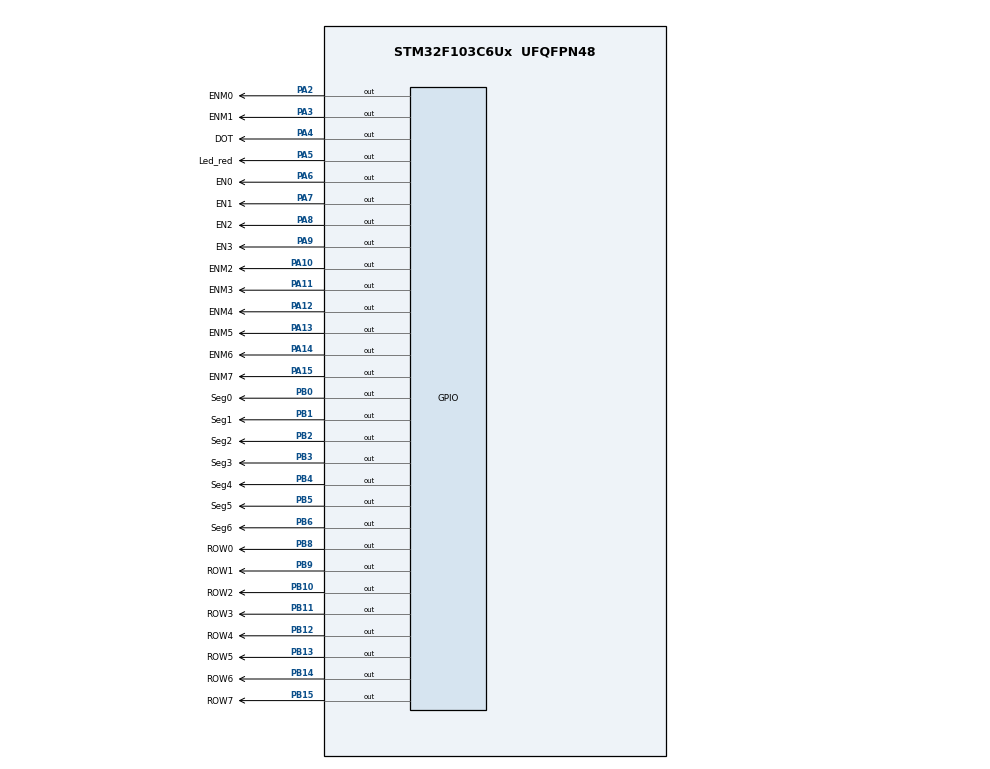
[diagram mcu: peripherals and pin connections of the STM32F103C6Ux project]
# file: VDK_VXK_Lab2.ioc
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Mcu.Family=STM32F1
Mcu.Name=STM32F103C6Ux
Mcu.Package=UFQFPN48
NVIC.PriorityGroup=NVIC_PRIORITYGROUP_4
NVIC.TIM2_IRQn=true\:0\:0\:false\:false\:true\:true\:true
PA10.GPIO_Label=ENM2
PA10.Signal=GPIO_Output
PA11.GPIO_Label=ENM3
PA11.Signal=GPIO_Output
PA12.GPIO_Label=ENM4
PA12.Signal=GPIO_Output
PA13.GPIO_Label=ENM5
PA13.Signal=GPIO_Output
PA14.GPIO_Label=ENM6
PA14.Signal=GPIO_Output
PA15.GPIO_Label=ENM7
PA15.Signal=GPIO_Output
PA2.GPIO_Label=ENM0
PA2.Signal=GPIO_Output
PA3.GPIO_Label=ENM1
PA3.Signal=GPIO_Output
PA4.GPIO_Label=DOT
PA4.Signal=GPIO_Output
PA5.GPIO_Label=Led_red
PA5.Signal=GPIO_Output
PA6.GPIO_Label=EN0
PA6.Signal=GPIO_Output
PA7.GPIO_Label=EN1
PA7.Signal=GPIO_Output
PA8.GPIO_Label=EN2
PA8.Signal=GPIO_Output
PA9.GPIO_Label=EN3
PA9.Signal=GPIO_Output
PB0.GPIO_Label=Seg0
PB0.Signal=GPIO_Output
PB1.GPIO_Label=Seg1
PB1.Signal=GPIO_Output
PB10.GPIO_Label=ROW2
PB10.Signal=GPIO_Output
PB11.GPIO_Label=ROW3
PB11.Signal=GPIO_Output
PB12.GPIO_Label=ROW4
PB12.Signal=GPIO_Output
PB13.GPIO_Label=ROW5
PB13.Signal=GPIO_Output
PB14.GPIO_Label=ROW6
PB14.Signal=GPIO_Output
PB15.GPIO_Label=ROW7
PB15.Signal=GPIO_Output
PB2.GPIO_Label=Seg2
PB2.Signal=GPIO_Output
PB3.GPIO_Label=Seg3
PB3.Signal=GPIO_Output
PB4.GPIO_Label=Seg4
PB4.Signal=GPIO_Output
PB5.GPIO_Label=Seg5
PB5.Signal=GPIO_Output
PB6.GPIO_Label=Seg6
PB6.Signal=GPIO_Output
PB8.GPIO_Label=ROW0
PB8.Signal=GPIO_Output
PB9.GPIO_Label=ROW1
PB9.Signal=GPIO_Output
ProjectManager.HeapSize=0x200
ProjectManager.StackSize=0x400
ProjectManager.TargetToolchain=STM32CubeIDE
RCC.APB1Freq_Value=8000000
RCC.APB2Freq_Value=8000000
TIM2.Period=9
TIM2.Prescaler=7999
VP_SYS_VS_ND.Mode=No_Debug
VP_TIM2_VS_ClockSourceINT.Mode=Internal
board=custom

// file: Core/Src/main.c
/* USER CODE BEGIN Header */
/**
  ******************************************************************************
  * @file           : main.c
  * @brief          : Main program body
  ******************************************************************************
  * @attention
  *
  * <h2><center>&copy; Copyright (c) 2024 STMicroelectronics.
  * All rights reserved.</center></h2>
  *
  * This software component is licensed by ST under BSD 3-Clause license,
  * the "License"; You may not use this file except in compliance with the
  * License. You may obtain a copy of the License at:
  *                        opensource.org/licenses/BSD-3-Clause
  *
  ******************************************************************************
  */
/* USER CODE END Header */
#include "main.h"

/* USER CODE BEGIN Includes */
#include "software_timer.h"
/* USER CODE END Includes */

TIM_HandleTypeDef htim2;

void SystemClock_Config(void);
static void MX_TIM2_Init(void);
static void MX_GPIO_Init(void);

/* USER CODE BEGIN 0 */
const uint8_t segDigits[10] = {
    0b01000000, // 0: Seg0, Seg1, Seg2, Seg3, Seg4, Seg5
    0b01111001, // 1: Seg1, Seg2
    0b00100100, // 2: Seg0, Seg1, Seg3, Seg4, Seg6
    0b00110000, // 3: Seg0, Seg1, Seg2, Seg3, Seg6
    0b00011001, // 4: Seg1, Seg2, Seg5, Seg6
    0b00010010, // 5: Seg0, Seg2, Seg3, Seg5, Seg6
    0b00000010, // 6: Seg0, Seg2, Seg3, Seg4, Seg5, Seg6
    0b01111000, // 7: Seg0, Seg1, Seg2
    0b00000000, // 8: Seg0, Seg1, Seg2, Seg3, Seg4, Seg5, Seg6
    0b00010000  // 9: Seg0, Seg1, Seg2, Seg3, Seg5, Seg6
};

// ham thuc hien led 7 doan
void displayDigit(uint8_t digit) {
    HAL_GPIO_WritePin(Seg0_GPIO_Port, Seg0_Pin, (segDigits[digit] & 0x01) ? 1 : 0);
    HAL_GPIO_WritePin(Seg1_GPIO_Port, Seg1_Pin, (segDigits[digit] & 0x02) ? 1 : 0);
    HAL_GPIO_WritePin(Seg2_GPIO_Port, Seg2_Pin, (segDigits[digit] & 0x04) ? 1 : 0);
    HAL_GPIO_WritePin(Seg3_GPIO_Port, Seg3_Pin, (segDigits[digit] & 0x08) ? 1 : 0);
    HAL_GPIO_WritePin(Seg4_GPIO_Port, Seg4_Pin, (segDigits[digit] & 0x10) ? 1 : 0);
    HAL_GPIO_WritePin(Seg5_GPIO_Port, Seg5_Pin, (segDigits[digit] & 0x20) ? 1 : 0);
    HAL_GPIO_WritePin(Seg6_GPIO_Port, Seg6_Pin, (segDigits[digit] & 0x40) ? 1 : 0);
}
const int MAX_LED = 4;
int index_led = 0;
int led_buffer[4] = {1, 2, 3, 4};
void update7SEG(int index) {
	HAL_GPIO_WritePin(GPIOA, EN0_Pin|EN1_Pin|EN2_Pin|EN3_Pin, 1);
	switch (index) {
		case 0:
			//Display the first 7SEG with led_buffer [0]
			HAL_GPIO_WritePin(GPIOA, EN0_Pin, 0);
			displayDigit(led_buffer[0]);
			break;
		case 1:
			//Display the second 7SEG with led_buffer [1]
			HAL_GPIO_WritePin(GPIOA, EN1_Pin, 0);
			displayDigit(led_buffer[1]);
			break;
		case 2:
			//Display the third 7SEG with led_buffer [2]
			HAL_GPIO_WritePin(GPIOA, EN2_Pin, 0);
			displayDigit(led_buffer[2]);
			break;
		case 3:
			//Display the forth 7SEG with led_buffer [3]
			HAL_GPIO_WritePin(GPIOA, EN3_Pin, 0);
			displayDigit(led_buffer[3]);
			break;
		default:
			break;
	}

	index_led++;
	if(index_led >= MAX_LED){
		index_led = 0;
	}
}
int h = 15, min = 59, sec = 50;
void updateClockBuffer(){
	if(h < 10){
		led_buffer[0] = 0;
		led_buffer[1] = h;
	}
	else{
		led_buffer[0] = h/10;
		led_buffer[1] = h%10;
	}
	if(min < 10){
		led_buffer[2] = 0;
		led_buffer[3] = min;
	}
	else{
		led_buffer[2] = min/10;
		led_buffer[3] = min%10;
	}
}
void digitalClock(){
	sec++;
	if(sec >= 60){
		min++;
		sec = 0;
	}
	if(min >= 60){
		h++;
		min = 0;
	}
	if(h >= 24){
		h = 0;
	}
}
const int MAX_LED_MATRIX = 8;
int index_led_matrix = 0;
uint8_t matrix_buffer[8] = {
    0x00, // Column 0
    0x7E, // Column 1
    0x04, // Column 2
    0x08, // Column 3
    0x08, // Column 4
    0x04, // Column 5
	0x7E, // Column 6
    0x00  // Column 7
};
void displayLEDMatrix(uint8_t digit){
    HAL_GPIO_WritePin(GPIOB, ROW0_Pin, (matrix_buffer[digit] & 0x01) ? 0 : 1);
    HAL_GPIO_WritePin(GPIOB, ROW1_Pin, (matrix_buffer[digit] & 0x02) ? 0 : 1);
    HAL_GPIO_WritePin(GPIOB, ROW2_Pin, (matrix_buffer[digit] & 0x04) ? 0 : 1);
    HAL_GPIO_WritePin(GPIOB, ROW3_Pin, (matrix_buffer[digit] & 0x08) ? 0 : 1);
    HAL_GPIO_WritePin(GPIOB, ROW4_Pin, (matrix_buffer[digit] & 0x10) ? 0 : 1);
    HAL_GPIO_WritePin(GPIOB, ROW5_Pin, (matrix_buffer[digit] & 0x20) ? 0 : 1);
    HAL_GPIO_WritePin(GPIOB, ROW6_Pin, (matrix_buffer[digit] & 0x40) ? 0 : 1);
    HAL_GPIO_WritePin(GPIOB, ROW7_Pin, (matrix_buffer[digit] & 0x80) ? 0 : 1);
}
void updateLEDMatrix (int index) {
	HAL_GPIO_WritePin(GPIOA, ENM0_Pin|ENM1_Pin|ENM2_Pin|ENM3_Pin
					|ENM4_Pin|ENM5_Pin|ENM6_Pin|ENM7_Pin, 1);
	switch (index) {
				case 0:
					HAL_GPIO_WritePin(ENM0_GPIO_Port, ENM0_Pin, 0);
					displayLEDMatrix(index);
					break;
				case 1:
					HAL_GPIO_WritePin(ENM1_GPIO_Port, ENM1_Pin, 0);
					displayLEDMatrix(index);
					break;
				case 2:
					HAL_GPIO_WritePin(ENM2_GPIO_Port, ENM2_Pin, 0);
					displayLEDMatrix(index);
					break;
				case 3:
					HAL_GPIO_WritePin(ENM3_GPIO_Port, ENM3_Pin, 0);
					displayLEDMatrix(index);
					break;
				case 4:
					HAL_GPIO_WritePin(ENM4_GPIO_Port, ENM4_Pin, 0);
					displayLEDMatrix(index);
					break;
				case 5:
					HAL_GPIO_WritePin(ENM5_GPIO_Port, ENM5_Pin, 0);
					displayLEDMatrix(index);
					break;
				case 6:
					HAL_GPIO_WritePin(ENM6_GPIO_Port, ENM6_Pin, 0);
					displayLEDMatrix(index);
					break;
				case 7:
					HAL_GPIO_WritePin(ENM7_GPIO_Port, ENM7_Pin, 0);
					displayLEDMatrix(index);
					break;
				default:
					break;
			}
	index_led_matrix++;
	if(index_led_matrix >= MAX_LED_MATRIX){
		index_led_matrix = 0;
	}
}
void updateClockMatrixBuffer(){
	uint8_t temp = matrix_buffer[0];
    for (int i = 0; i < MAX_LED_MATRIX - 1; i++) {
        matrix_buffer[i] = matrix_buffer[i + 1];
    }
    matrix_buffer[MAX_LED_MATRIX - 1] = temp;
}

/* USER CODE END 0 */

int main(void)
{

  /* MCU Configuration--------------------------------------------------------*/

  /* Reset of all peripherals, Initializes the Flash interface and the Systick. */
  HAL_Init();

  /* Configure the system clock */
  SystemClock_Config();

  /* Initialize all configured peripherals */
  MX_TIM2_Init();
  MX_GPIO_Init();
  /* USER CODE BEGIN 2 */
  HAL_TIM_Base_Start_IT (& htim2 );
  /* USER CODE END 2 */

  /* Infinite loop */
  /* USER CODE BEGIN WHILE */

  setTimer(0, 100);
  setTimer(1, 200);
  setTimer(2, 150);
  setTimer(3, 500);
  setTimer(4, 5);
  setTimer(5, 300);
  while (1)
  {
	  if(isTimerExpired(0) == 1){
		  //LED_RED
		  setTimer(0, 1000);
		  HAL_GPIO_TogglePin(Led_red_GPIO_Port, Led_red_Pin);
	  }
	  if(isTimerExpired(1) == 1){
		  //DOT
		  setTimer(1, 1000);
		  HAL_GPIO_TogglePin(DOT_GPIO_Port, DOT_Pin);
	  }
	  if(isTimerExpired(2) == 1){
		  //7led
		  setTimer(2, 250);
		  updateClockBuffer();
		  update7SEG(index_led);
	  }
	  if(isTimerExpired(3) == 1){
		  //7led
		  setTimer(3, 1000);
		  digitalClock();
	  }
	  if(isTimerExpired(4) == 1){
	  		  setTimer(3, 10);
	  		  updateLEDMatrix(index_led_matrix);
	  	  }
	  if(isTimerExpired(5) == 1){
	  		  setTimer(4, 500);
	  		  updateClockMatrixBuffer();
	  	  }
    /* USER CODE END WHILE */

  }
}

void SystemClock_Config(void)
{
  RCC_OscInitTypeDef RCC_OscInitStruct = {0};
  RCC_ClkInitTypeDef RCC_ClkInitStruct = {0};

  /** Initializes the RCC Oscillators according to the specified parameters
  * in the RCC_OscInitTypeDef structure.
  */
  RCC_OscInitStruct.OscillatorType = RCC_OSCILLATORTYPE_HSI;
  RCC_OscInitStruct.HSIState = RCC_HSI_ON;
  RCC_OscInitStruct.HSICalibrationValue = RCC_HSICALIBRATION_DEFAULT;
  RCC_OscInitStruct.PLL.PLLState = RCC_PLL_NONE;
  if (HAL_RCC_OscConfig(&RCC_OscInitStruct) != HAL_OK)
  {
    Error_Handler();
  }
  /** Initializes the CPU, AHB and APB buses clocks
  */
  RCC_ClkInitStruct.ClockType = RCC_CLOCKTYPE_HCLK|RCC_CLOCKTYPE_SYSCLK
                              |RCC_CLOCKTYPE_PCLK1|RCC_CLOCKTYPE_PCLK2;
  RCC_ClkInitStruct.SYSCLKSource = RCC_SYSCLKSOURCE_HSI;
  RCC_ClkInitStruct.AHBCLKDivider = RCC_SYSCLK_DIV1;
  RCC_ClkInitStruct.APB1CLKDivider = RCC_HCLK_DIV1;
  RCC_ClkInitStruct.APB2CLKDivider = RCC_HCLK_DIV1;

  if (HAL_RCC_ClockConfig(&RCC_ClkInitStruct, FLASH_LATENCY_0) != HAL_OK)
  {
    Error_Handler();
  }
}

static void MX_TIM2_Init(void)
{

  TIM_ClockConfigTypeDef sClockSourceConfig = {0};
  TIM_MasterConfigTypeDef sMasterConfig = {0};

  htim2.Instance = TIM2;
  htim2.Init.Prescaler = 7999;
  htim2.Init.CounterMode = TIM_COUNTERMODE_UP;
  htim2.Init.Period = 9;
  htim2.Init.ClockDivision = TIM_CLOCKDIVISION_DIV1;
  htim2.Init.AutoReloadPreload = TIM_AUTORELOAD_PRELOAD_DISABLE;
  if (HAL_TIM_Base_Init(&htim2) != HAL_OK)
  {
    Error_Handler();
  }
  sClockSourceConfig.ClockSource = TIM_CLOCKSOURCE_INTERNAL;
  if (HAL_TIM_ConfigClockSource(&htim2, &sClockSourceConfig) != HAL_OK)
  {
    Error_Handler();
  }
  sMasterConfig.MasterOutputTrigger = TIM_TRGO_RESET;
  sMasterConfig.MasterSlaveMode = TIM_MASTERSLAVEMODE_DISABLE;
  if (HAL_TIMEx_MasterConfigSynchronization(&htim2, &sMasterConfig) != HAL_OK)
  {
    Error_Handler();
  }

}

static void MX_GPIO_Init(void)
{
  GPIO_InitTypeDef GPIO_InitStruct = {0};

  /* GPIO Ports Clock Enable */
  __HAL_RCC_GPIOA_CLK_ENABLE();
  __HAL_RCC_GPIOB_CLK_ENABLE();

  /*Configure GPIO pin Output Level */
  HAL_GPIO_WritePin(GPIOA, ENM0_Pin|ENM1_Pin|DOT_Pin|Led_red_Pin
                          |EN0_Pin|EN1_Pin|EN2_Pin|EN3_Pin
                          |ENM2_Pin|ENM3_Pin|ENM4_Pin|ENM5_Pin
                          |ENM6_Pin|ENM7_Pin, GPIO_PIN_RESET);

  /*Configure GPIO pin Output Level */
  HAL_GPIO_WritePin(GPIOB, Seg0_Pin|Seg1_Pin|Seg2_Pin|ROW2_Pin
                          |ROW3_Pin|ROW4_Pin|ROW5_Pin|ROW6_Pin
                          |ROW7_Pin|Seg3_Pin|Seg4_Pin|Seg5_Pin
                          |Seg6_Pin|ROW0_Pin|ROW1_Pin, GPIO_PIN_RESET);

  /*Configure GPIO pins : ENM0_Pin ENM1_Pin DOT_Pin Led_red_Pin
                           EN0_Pin EN1_Pin EN2_Pin EN3_Pin
                           ENM2_Pin ENM3_Pin ENM4_Pin ENM5_Pin
                           ENM6_Pin ENM7_Pin */
  GPIO_InitStruct.Pin = ENM0_Pin|ENM1_Pin|DOT_Pin|Led_red_Pin
                          |EN0_Pin|EN1_Pin|EN2_Pin|EN3_Pin
                          |ENM2_Pin|ENM3_Pin|ENM4_Pin|ENM5_Pin
                          |ENM6_Pin|ENM7_Pin;
  GPIO_InitStruct.Mode = GPIO_MODE_OUTPUT_PP;
  GPIO_InitStruct.Pull = GPIO_NOPULL;
  GPIO_InitStruct.Speed = GPIO_SPEED_FREQ_LOW;
  HAL_GPIO_Init(GPIOA, &GPIO_InitStruct);

  /*Configure GPIO pins : Seg0_Pin Seg1_Pin Seg2_Pin ROW2_Pin
                           ROW3_Pin ROW4_Pin ROW5_Pin ROW6_Pin
                           ROW7_Pin Seg3_Pin Seg4_Pin Seg5_Pin
                           Seg6_Pin ROW0_Pin ROW1_Pin */
  GPIO_InitStruct.Pin = Seg0_Pin|Seg1_Pin|Seg2_Pin|ROW2_Pin
                          |ROW3_Pin|ROW4_Pin|ROW5_Pin|ROW6_Pin
                          |ROW7_Pin|Seg3_Pin|Seg4_Pin|Seg5_Pin
                          |Seg6_Pin|ROW0_Pin|ROW1_Pin;
  GPIO_InitStruct.Mode = GPIO_MODE_OUTPUT_PP;
  GPIO_InitStruct.Pull = GPIO_NOPULL;
  GPIO_InitStruct.Speed = GPIO_SPEED_FREQ_LOW;
  HAL_GPIO_Init(GPIOB, &GPIO_InitStruct);

}

/* USER CODE BEGIN 4 */

void HAL_TIM_PeriodElapsedCallback ( TIM_HandleTypeDef * htim )
{
	timerRun();
}
/* USER CODE END 4 */

void Error_Handler(void)
{
  __disable_irq();
  while (1)
  {
  }
}

/************************ (C) COPYRIGHT STMicroelectronics *****END OF FILE****/
